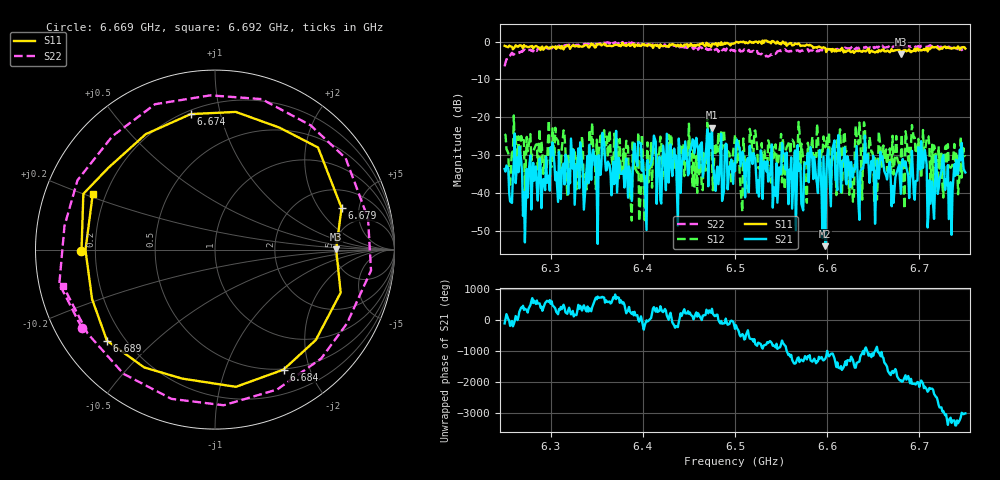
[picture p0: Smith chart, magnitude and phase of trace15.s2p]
# Hz S RI R 50
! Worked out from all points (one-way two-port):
!   401 points, 6.25 GHz to 6.75 GHz, reference 50 ohm
!   highest |S21| = -22.78 dB at 6.475 GHz (marker M1); lowest = -54.1 dB at 6.598 GHz (marker M2)
!   lowest |S11| = -3.4 dB at 6.68 GHz (marker M3), VSWR 5.16, Z = 258 + j2.34 ohm
!   |S11| at or under -10 dB: nowhere
!   |S22| runs from -6.6 to -0.1 dB; largest |S21 - S12| = 0.13
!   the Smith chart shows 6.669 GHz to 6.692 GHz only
!   S11 on the Smith chart (normalised r, x): 6.669 GHz: 0.15, -0.00; 6.674 GHz: 0.22, +0.81; 6.679 GHz: 3.18, +3.30; 6.684 GHz: 0.49, -1.61; 6.689 GHz: 0.13, -0.36; 6.692 GHz: 0.15, +0.21
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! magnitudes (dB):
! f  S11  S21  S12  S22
! 6.25 GHz  -1.1  -33.7  -24.5  -6.6
! 6.264 GHz  -1.4  -30.6  -33.9  -3.0
! 6.272 GHz  -1.2  -53.1  -39.4  -2.2
! 6.302 GHz  -1.4  -26.7  -23.0  -1.3
! 6.334 GHz  -1.4  -31.9  -25.0  -0.7
! 6.411 GHz  -1.7  -28.8  -28.2  -0.7
! 6.418 GHz  -1.6  -30.5  -29.0  -1.6
! 6.475 GHz  -0.7  -22.8  -31.1  -2.0
! 6.5 GHz  -0.4  -34.3  -24.6  -2.6
! 6.584 GHz  -1.3  -31.3  -25.1  -2.4
! 6.598 GHz  -1.7  -54.1  -28.0  -2.2
! 6.626 GHz  -2.8  -31.9  -32.7  -1.6
! 6.634 GHz  -2.5  -43.1  -27.2  -2.1
! 6.668 GHz  -2.8  -31.9  -28.3  -1.1
! 6.669 GHz  -2.6  -36.8  -34.9  -1.3
! 6.674 GHz  -2.3  -36.0  -29.0  -1.4
! 6.679 GHz  -2.6  -36.7  -33.8  -1.2
! 6.68 GHz  -3.4  -40.3  -30.1  -1.0
! 6.684 GHz  -2.3  -33.0  -44.2  -1.5
! 6.689 GHz  -2.1  -41.4  -28.1  -1.2
! 6.692 GHz  -2.5  -28.9  -22.1  -1.2
! 6.75 GHz  -1.9  -34.6  -30.4  -2.3
